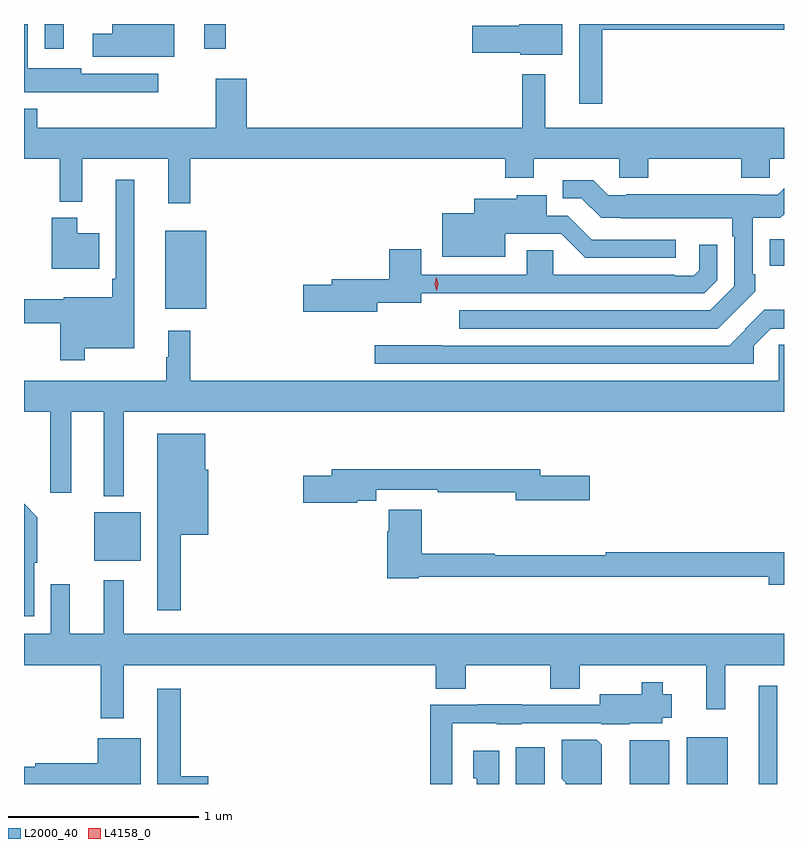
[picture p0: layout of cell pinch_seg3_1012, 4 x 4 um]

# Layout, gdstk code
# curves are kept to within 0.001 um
import gdstk
lib = gdstk.Library(unit=1e-6, precision=1e-09)
def R(c, l, rs):  # rectangles x0, y0, x1, y1
    for r in rs: c.add(gdstk.rectangle(r[:2], r[2:], *l))
def P(c, l, *ps):  # polygons
    for p in ps: c.add(gdstk.Polygon(p, *l))
L2000_40 = (2000, 40)
L4158_0 = (4158, 0)

pinch_seg3_1012 = lib.new_cell('pinch_seg3_1012')
R(pinch_seg3_1012, L2000_40, [(582.704,690.966,582.856,691.159), (583.304,690.966,583.51,691.196), (583.604,690.966,583.819,691.213), (583.982,690.966,584.079,691.483), (580.484,692.141,580.729,692.395), (580.859,693.467,581.074,693.877), (584.04,693.694,584.115,693.832), (580.224,694.836,580.325,694.966), (581.063,694.836,581.176,694.966)])
P(pinch_seg3_1012, L2000_40, [(583.159,694.936),(584.115,694.936),(584.115,694.966),(583.037,694.966),(583.037,694.545),(583.159,694.545)],
  [(582.949,694.966),(582.722,694.966),(582.722,694.958),(582.474,694.958),(582.474,694.816),(582.726,694.816),(582.726,694.805),(582.949,694.805)],
  [(580.906,694.966),(580.58,694.966),(580.58,694.915),(580.476,694.915),(580.476,694.793),(580.906,694.793)],
  [(580.822,694.704),(580.416,694.704),(580.416,694.732),(580.134,694.732),(580.134,694.966),(580.115,694.966),(580.115,694.607),(580.822,694.607)],
  [(580.991,694.256),(582.647,694.256),(582.647,694.157),(582.799,694.157),(582.799,694.256),(583.248,694.256),(583.248,694.157),(583.4,694.157),(583.4,694.256),(583.889,694.256),(583.889,694.158),(584.04,694.158),(584.04,694.256),(584.115,694.256),(584.115,694.42),(582.859,694.42),(582.859,694.702),(582.738,694.702),(582.738,694.42),(581.288,694.42),(581.288,694.678),(581.123,694.678),(581.123,694.42),(580.184,694.42),(580.184,694.519),(580.115,694.519),(580.115,694.256),(580.303,694.256),(580.303,694.031),(580.421,694.031),(580.421,694.256),(580.874,694.256),(580.874,694.023),(580.991,694.023)],
  [(580.435,693.26),(580.696,693.26),(580.696,694.147),(580.599,694.147),(580.599,693.625),(580.579,693.625),(580.579,693.529),(580.325,693.529),(580.325,693.518),(580.115,693.518),(580.115,693.39),(580.306,693.39),(580.306,693.195),(580.435,693.195)],
  [(583.858,693.455),(583.963,693.559),(583.963,693.649),(583.95,693.649),(583.95,693.945),(584.094,693.945),(584.115,693.966),(584.115,694.102),(584.081,694.068),(583.285,694.069),(583.285,694.065),(583.189,694.065),(583.11,694.144),(582.95,694.144),(582.95,694.05),(583.049,694.05),(583.154,693.945),(583.842,693.944),(583.842,693.848),(583.854,693.848),(583.854,693.585),(583.728,693.459),(582.405,693.459),(582.405,693.363),(583.765,693.363)],
  [(583.546,693.831),(583.104,693.831),(582.978,693.957),(582.865,693.957),(582.865,694.066),(582.708,694.066),(582.708,694.045),(582.485,694.045),(582.485,693.97),(582.317,693.97),(582.317,693.74),(582.649,693.74),(582.649,693.861),(582.942,693.861),(583.068,693.735),(583.546,693.735)],
  [(580.51,693.865),(580.396,693.865),(580.396,693.946),(580.262,693.946),(580.262,693.677),(580.51,693.677)],
  [(581.974,693.5),(582.205,693.5),(582.205,693.549),(583.695,693.549),(583.764,693.618),(583.764,693.805),(583.67,693.805),(583.67,693.671),(583.641,693.642),(583.541,693.642),(583.541,693.645),(582.9,693.645),(582.9,693.775),(582.761,693.775),(582.761,693.645),(582.205,693.645),(582.205,693.781),(582.038,693.781),(582.038,693.623),(581.735,693.623),(581.735,693.593),(581.586,693.593),(581.586,693.451),(581.974,693.451)],
  [(583.956,693.273),(584.046,693.363),(584.115,693.363),(584.115,693.462),(584.01,693.462),(583.911,693.363),(583.913,693.36),(583.826,693.273),(582.317,693.273),(582.317,693.276),(581.961,693.276),(581.961,693.177),(583.956,693.177)],
  [(584.115,693.278),(584.088,693.278),(584.088,693.088),(580.991,693.088),(580.991,693.352),(580.874,693.352),(580.874,693.212),(580.863,693.212),(580.863,693.088),(580.115,693.088),(580.115,692.924),(580.253,692.924),(580.253,692.499),(580.363,692.499),(580.363,692.924),(580.535,692.924),(580.535,692.48),(580.639,692.48),(580.639,692.924),(584.115,692.924)],
  [(580.939,692.279),(581.086,692.279),(581.086,692.619),(581.068,692.619),(581.068,692.809),(580.817,692.809),(580.817,691.881),(580.939,691.881)],
  [(581.87,692.456),(581.97,692.456),(581.97,692.514),(582.292,692.514),(582.292,692.502),(582.704,692.502),(582.704,692.459),(583.093,692.459),(583.093,692.589),(582.832,692.589),(582.832,692.623),(581.735,692.623),(581.735,692.589),(581.586,692.589),(581.586,692.447),(581.87,692.447)],
  [(580.168,692.13),(580.186,692.13),(580.186,692.37),(580.115,692.441),(580.115,691.85),(580.168,691.85)],
  [(584.115,692.186),(583.176,692.186),(583.176,692.171),(582.592,692.171),(582.592,692.179),(582.209,692.179),(582.209,692.409),(582.036,692.409),(582.036,692.297),(582.026,692.297),(582.026,692.05),(582.192,692.05),(582.192,692.058),(584.036,692.058),(584.036,692.015),(584.115,692.015)],
  [(580.639,691.592),(582.281,691.592),(582.281,691.468),(582.441,691.468),(582.441,691.592),(582.886,691.592),(582.886,691.468),(583.041,691.468),(583.041,691.592),(583.706,691.592),(583.706,691.359),(583.805,691.359),(583.805,691.592),(584.115,691.592),(584.115,691.756),(580.639,691.756),(580.639,692.038),(580.535,692.038),(580.535,691.756),(580.355,691.756),(580.355,692.017),(580.257,692.017),(580.257,691.756),(580.115,691.756),(580.115,691.592),(580.518,691.592),(580.518,691.311),(580.639,691.311)],
  [(582.369,691.286),(582.603,691.286),(582.603,691.28),(582.735,691.28),(582.735,691.287),(583.152,691.287),(583.152,691.28),(583.302,691.28),(583.302,691.286),(583.474,691.286),(583.474,691.316),(583.525,691.316),(583.525,691.438),(583.476,691.438),(583.476,691.501),(583.365,691.501),(583.365,691.438),(583.145,691.438),(583.145,691.383),(582.735,691.383),(582.735,691.385),(582.503,691.385),(582.503,691.383),(582.253,691.383),(582.253,690.966),(582.369,690.966)],
  [(581.086,691.006),(580.939,691.006),(580.939,691.468),(580.817,691.468),(580.817,690.966),(581.086,690.966)],
  [(580.729,691.207),(580.502,691.207),(580.502,691.076),(580.174,691.076),(580.174,691.056),(580.115,691.056),(580.115,690.966),(580.729,690.966)],
  [(583.156,691.172),(583.13,691.198),(582.944,691.198),(582.944,690.994),(582.966,690.972),(582.966,690.966),(583.156,690.966)],
  [(582.616,691.141),(582.479,691.141),(582.479,690.996),(582.497,690.996),(582.497,690.966),(582.616,690.966)])
P(pinch_seg3_1012, L4158_0, [(582.287,693.562),(582.287,693.562),(582.276,693.597),(582.284,693.632),(582.285,693.633),(582.285,693.632),(582.296,693.598),(582.288,693.562)])

lib.write_gds('pinch_seg3_1012.gds')
